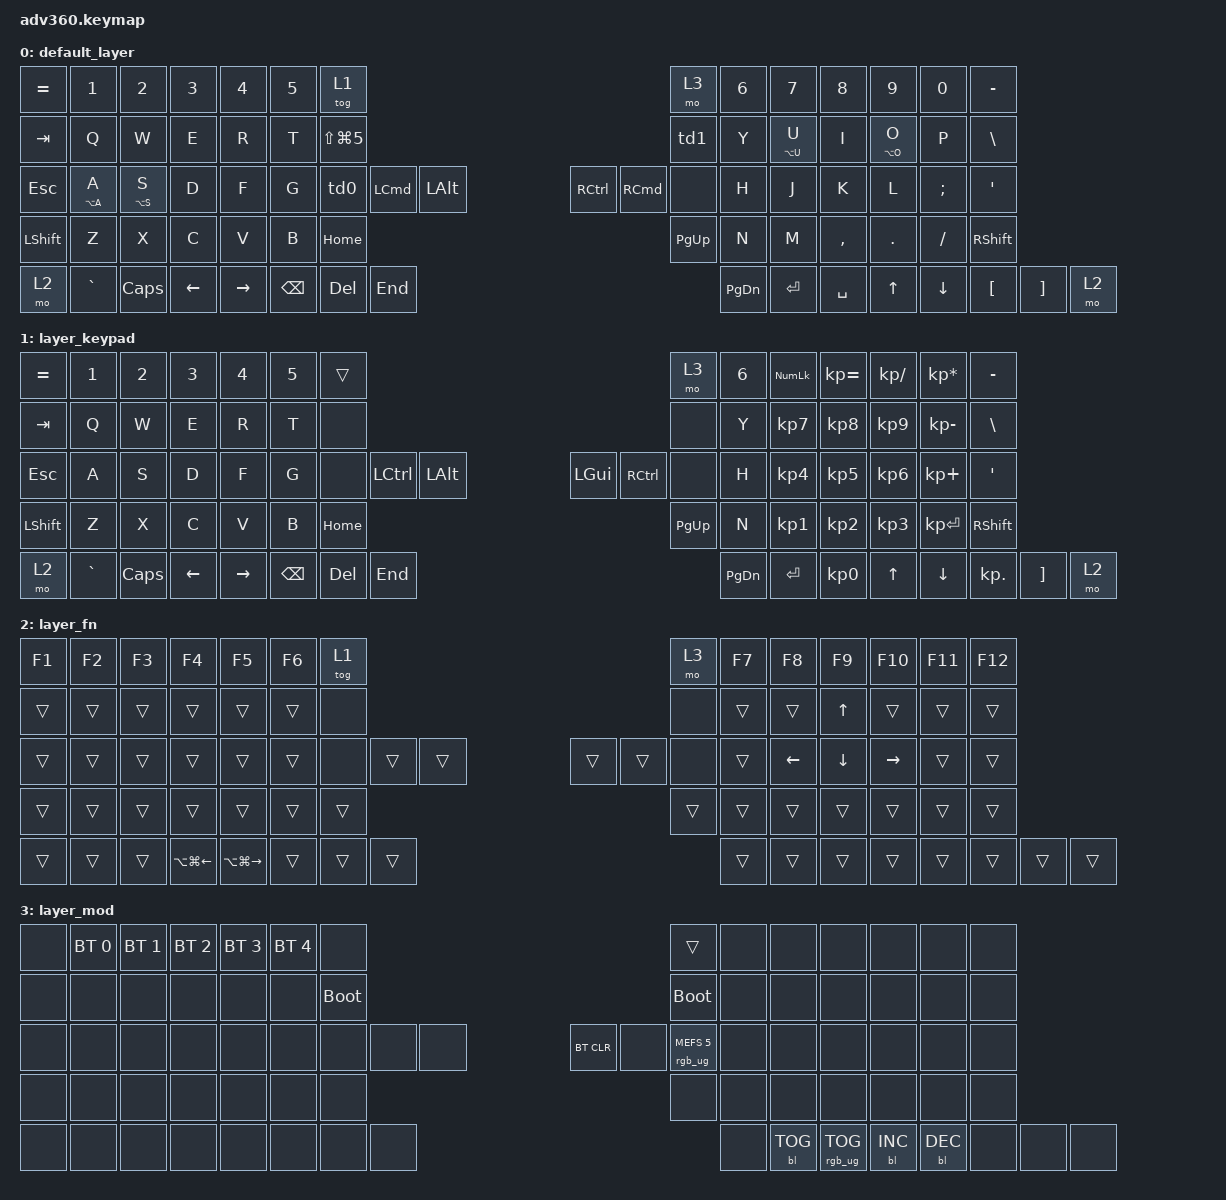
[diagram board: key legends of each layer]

/*
 * Copyright (c) 2020 The ZMK Contributors
 *
 * SPDX-License-Identifier: MIT
 */


/* THIS FILE WAS GENERATED!
 *
 * This file was generated automatically. You may or may not want to
 * edit it directly.
 */

#include <behaviors.dtsi>
#include <dt-bindings/zmk/keys.h>
#include <dt-bindings/zmk/bt.h>
#include <dt-bindings/zmk/rgb.h>
#include <dt-bindings/zmk/backlight.h>

/ {
  behaviors {
    #include "macros.dtsi"

    hm: homerow_mods {
        compatible = "zmk,behavior-hold-tap";
        label = "HOMEROW_MODS";
        #binding-cells = <2>;
        tapping-term-ms = <200>;
        quick_tap_ms = <175>;
        flavor = "tap-preferred";
        bindings = <&kp>, <&kp>;
    };

    td0: tap_dance_0 {
        compatible = "zmk,behavior-tap-dance";
        label = "TAP_DANCE_COPY_PASTE";
        #binding-cells = <0>;
        tapping-term-ms = <200>;
        bindings = <&kp LG(C)>, <&kp LG(V)>;
    };

    td1: tap_dance_1 {
        compatible = "zmk,behavior-tap-dance";
        label = "INTELLIJ_QUICK_DOC_DEF";
        #binding-cells = <0>;
        tapping-term-ms = <200>;
        bindings = <&kp RC(J)>, <&kp LS(LG(I))>;
    };

    /*
     * ht_tp0: hold-tap_tap-preferred_0 {
     *   compatible = "zmk,behavior-hold-tap";
     *   label = "HOLD-TAP_TAP-PREFERRED_UMLAUT_A";
     *   #binding-cells = <2>;
     *   flavor = "tap-preferred";
     *   tapping-term-ms = <200>;
     *   quick-tap-ms = <(-1)>;
     *   bindings = <&kp>, <&kp>;
     * };
     */
  };

    keymap {
        compatible = "zmk,keymap";


        default_layer {
            bindings = <
 &kp EQUAL     &kp N1    &kp N2    &kp N3     &kp N4  &kp N5                       &tog 1                                                                                        &mo 3  &kp N6  &kp N7     &kp N8    &kp N9    &kp N0  &kp MINUS
   &kp TAB      &kp Q     &kp W     &kp E      &kp R   &kp T               &kp LS(LG(N5))                                                                                        &td1   &kp Y  &hm LA(U) U      &kp I  &hm LA(O) O     &kp P   &kp BSLH
   &kp ESC  &hm LA(A) A  &hm LA(S) S     &kp D      &kp F   &kp G                        &td0  &kp LEFT_COMMAND  &kp LALT                  &kp RIGHT_CONTROL  &kp RIGHT_COMMAND      &none   &kp H   &kp J      &kp K     &kp L  &kp SEMI    &kp SQT
 &kp LSHFT      &kp Z     &kp X     &kp C      &kp V   &kp B                                                 &kp HOME                          &kp PG_UP                                 &kp N   &kp M  &kp COMMA   &kp DOT  &kp FSLH  &kp RSHFT
     &mo 2  &kp GRAVE  &kp CAPS  &kp LEFT  &kp RIGHT                             &kp BSPC           &kp DEL   &kp END                          &kp PG_DN          &kp ENTER  &kp SPACE          &kp UP   &kp DOWN  &kp LBKT  &kp RBKT      &mo 2
            >;
        };

        layer_keypad {
            bindings = <
 &kp EQUAL     &kp N1    &kp N2    &kp N3     &kp N4  &kp N5              &trans                                                                 &mo 3  &kp N6  &kp KP_NUM  &kp KP_EQUAL  &kp KP_DIVIDE  &kp KP_MULTIPLY  &kp MINUS
   &kp TAB      &kp Q     &kp W     &kp E      &kp R   &kp T               &none                                                                 &none   &kp Y   &kp KP_N7     &kp KP_N8      &kp KP_N9     &kp KP_MINUS   &kp BSLH
   &kp ESC      &kp A     &kp S     &kp D      &kp F   &kp G               &none  &kp LCTRL  &kp LALT                   &kp LGUI  &kp RCTRL      &none   &kp H   &kp KP_N4     &kp KP_N5      &kp KP_N6      &kp KP_PLUS    &kp SQT
 &kp LSHFT      &kp Z     &kp X     &kp C      &kp V   &kp B                                 &kp HOME                  &kp PG_UP                         &kp N   &kp KP_N1     &kp KP_N2      &kp KP_N3     &kp KP_ENTER  &kp RSHFT
     &mo 2  &kp GRAVE  &kp CAPS  &kp LEFT  &kp RIGHT                    &kp BSPC    &kp DEL   &kp END                  &kp PG_DN  &kp ENTER  &kp KP_N0              &kp UP      &kp DOWN     &kp KP_DOT         &kp RBKT      &mo 2
            >;
        };

        layer_fn {
            bindings = <
 &kp F1  &kp F2  &kp F3  &kp F4  &kp F5  &kp F6            &tog 1                                                   &mo 3  &kp F7    &kp F8    &kp F9    &kp F10  &kp F11  &kp F12
 &trans  &trans  &trans  &trans  &trans  &trans             &none                                                   &none  &trans    &trans    &kp UP     &trans   &trans   &trans
 &trans  &trans  &trans  &trans  &trans  &trans             &none  &trans  &trans                  &trans  &trans   &none  &trans  &kp LEFT  &kp DOWN  &kp RIGHT   &trans   &trans
 &trans  &trans  &trans  &trans  &trans  &trans                            &trans                  &trans                  &trans    &trans    &trans     &trans   &trans   &trans
 &trans  &trans  &trans  &kp LA(LG(LEFT))  &kp LA(LG(RIGHT))                    &trans  &trans  &trans                  &trans  &trans  &trans            &trans    &trans     &trans   &trans   &trans
            >;
        };

        layer_mod {
            bindings = <
        &none &bt BT_SEL 0 &bt BT_SEL 1 &bt BT_SEL 2 &bt BT_SEL 3 &bt BT_SEL 4 &none                                                                     &trans                 &none        &none        &none        &none &none &none
        &none &none        &none        &none        &none        &none        &bootloader                                                               &bootloader            &none        &none        &none        &none &none &none
        &none &none        &none        &none        &none        &none        &none                   &none &none &bt BT_CLR &none                      &rgb_ug RGB_MEFS_CMD 5 &none        &none        &none        &none &none &none
        &none &none        &none        &none        &none        &none                                      &none &none                                                        &none        &none        &none        &none &none &none
        &none &none        &none        &none        &none                                       &none &none &none &none      &bl BL_TOG &rgb_ug RGB_TOG                                     &bl BL_INC   &bl BL_DEC   &none &none &none
            >;
        };

    };
};
